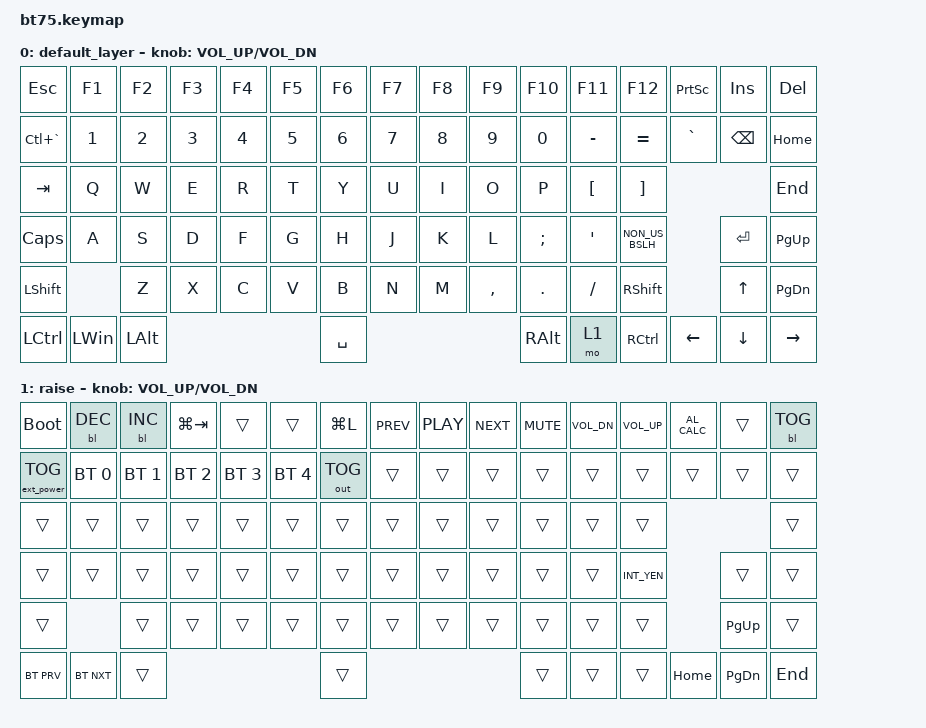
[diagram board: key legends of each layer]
#include <behaviors.dtsi>
#include <dt-bindings/zmk/backlight.h>
#include <dt-bindings/zmk/bt.h>
#include <dt-bindings/zmk/ext_power.h>
#include <dt-bindings/zmk/keys.h>
#include <dt-bindings/zmk/outputs.h>

/ {
    keymap {
        compatible = "zmk,keymap";

        default_layer {
            // ------------------------------------------------------------------------------------------------------------
            // | ESC | F1  | F2  | F3  | F4  | F5  | F6  | F7  | F9  | F9  | F10 | F11 | F12 | PSCRN | INS | DEL	|
            // |  EN/JP  |  1  |  2  |  3  |  4  |  5  |  6  |  7  |  8  |  9  |  0  |  -  |  =  |  `  |   BKSP   | HOME	|
            // | TAB  |  Q  |  W  |  E  |  R  |  T  |  Y  |  U  |  I  |  O  |  P  |  [  |  ]  |        | END |
            // | CAPS  |  A  |  S  |  D  |  F  |  G  |  H  |  J  |  K  |  L  |  ;  |  '  |   \ | ENTER     | PG UP |
            // |  SHIFT |  Z  |  X  |  C  |  V  |  B  |  N  |  M  |  ,  |  .  | /   |    SHIFT |  UP  |  PG DN  |
            // |  CTL  |  WIN  |  ALT  |            SPACE               | ALT | 1  | CTRL |  LEFT | DOWN | RIGHT |
            // ------------------------------------------------------------------------------------------------------------

            bindings = <
&kp ESC         &kp F1        &kp F2    &kp F3  &kp F4  &kp F5  &kp F6     &kp F7  &kp F8  &kp F9     &kp F10     &kp F11           &kp F12            &kp PRINTSCREEN  &kp INS        &kp DEL
&kp LC(GRAVE)   &kp N1        &kp N2    &kp N3  &kp N4  &kp N5  &kp N6     &kp N7  &kp N8  &kp N9     &kp N0      &kp MINUS         &kp EQUAL          &kp GRAVE        &kp BACKSPACE  &kp HOME
&kp TAB         &kp Q         &kp W     &kp E   &kp R   &kp T   &kp Y      &kp U   &kp I   &kp O      &kp P       &kp LEFT_BRACKET  &kp RIGHT_BRACKET                                  &kp END
&kp CAPS        &kp A         &kp S     &kp D   &kp F   &kp G   &kp H      &kp J   &kp K   &kp L      &kp SEMI    &kp SQT           &kp NON_US_BSLH                     &kp RET        &kp PAGE_UP
&kp LEFT_SHIFT                &kp Z     &kp X   &kp C   &kp V   &kp B      &kp N   &kp M   &kp COMMA  &kp PERIOD  &kp SLASH         &kp RIGHT_SHIFT                     &kp UP         &kp PAGE_DOWN
&kp LCTRL       &kp LEFT_WIN  &kp LALT                          &kp SPACE                             &kp RALT    &mo 1             &kp RCTRL          &kp LEFT         &kp DOWN       &kp RIGHT
            >;

            sensor-bindings = <&inc_dec_kp C_VOL_UP C_VOL_DN>;
        };

        raise {
            bindings = <
&bootloader        &bl BL_DEC    &bl BL_INC    &kp LG(TAB)   &trans        &trans        &kp LG(L)     &kp C_PREV  &kp C_PLAY  &kp C_NEXT  &kp C_MUTE  &kp C_VOL_DN  &kp C_VOL_UP  &kp C_AL_CALC  &trans     &bl BL_TOG
&ext_power EP_TOG  &bt BT_SEL 0  &bt BT_SEL 1  &bt BT_SEL 2  &bt BT_SEL 3  &bt BT_SEL 4  &out OUT_TOG  &trans      &trans      &trans      &trans      &trans        &trans        &trans         &trans     &trans
&trans             &trans        &trans        &trans        &trans        &trans        &trans        &trans      &trans      &trans      &trans      &trans        &trans                                  &trans
&trans             &trans        &trans        &trans        &trans        &trans        &trans        &trans      &trans      &trans      &trans      &trans        &kp INT_YEN                  &trans     &trans
&trans                           &trans        &trans        &trans        &trans        &trans        &trans      &trans      &trans      &trans      &trans        &trans                       &kp PG_UP  &trans
&bt BT_PRV         &bt BT_NXT    &trans                                                  &trans                                            &trans      &trans        &trans        &kp HOME       &kp PG_DN  &kp END
            >;

            sensor-bindings = <&inc_dec_kp C_VOL_UP C_VOL_DN>;
        };
    };
};
